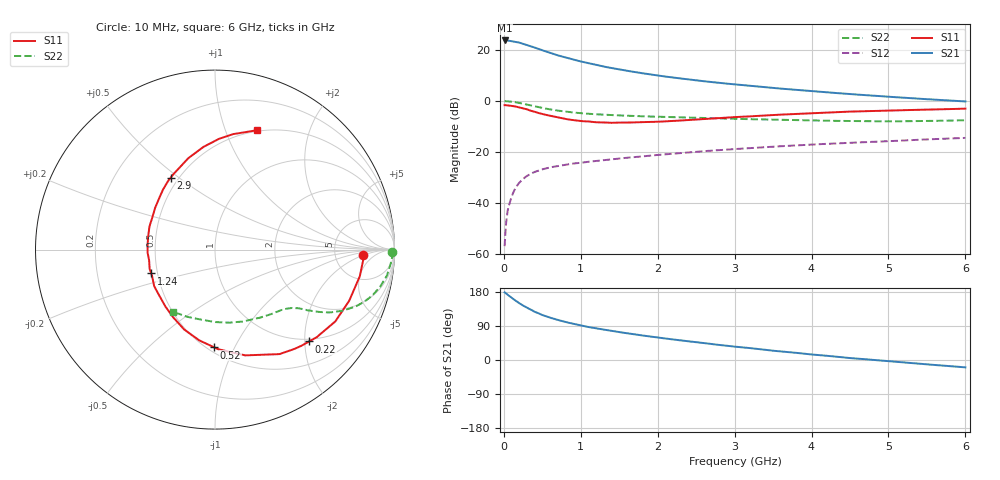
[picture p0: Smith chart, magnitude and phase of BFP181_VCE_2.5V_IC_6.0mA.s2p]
! Infineon Technologies  Discrete & RF Semiconductors
! BFP181
! VCE = 2.5 V,  IC =  6.0 mA
! Common Emitter S-Parameters:  Jan 2016
# GHz  S  MA  R  50
!  f  S11  S21  S12  S22
! GHz  MAG  ANG  MAG  ANG  MAG  ANG  MAG  ANG
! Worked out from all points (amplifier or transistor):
!   210 points, 10 MHz to 6 GHz, reference 50 ohm
!   highest |S21| = 23.8 dB at 10 MHz (marker M1)
!   |S21| within 3 dB of that: start of sweep to 420.9 MHz
!   unconditionally stable (mu >= 1): 1.504 GHz to end of sweep
!   at 185 MHz: K = 0.20, MSG = 27.9 dB, |S12| = -32.8 dB
!   at 1.52 GHz: K = 1.00, MAG = 17.0 dB, |S12| = -22.5 dB
!   at 6 GHz: K = 1.04, MAG = 6.0 dB, |S12| = -14.5 dB
!   S11 on the Smith chart (normalised r, x): 10 MHz: 10, -2; 220 MHz: 0.95, -2.10; 520 MHz: 0.54, -0.84; 1.24 GHz: 0.46, -0.14; 2.9 GHz: 0.45, +0.47; 6 GHz: 0.49, +1.29
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0.01  0.8248 -2.2  15.43 178.4  0.0014 82.9  0.9884 -0.7
0.04  0.8215 -8.4  15.38 173.8  0.0055 85.2  0.9848 -3.5
0.05  0.8202 -10.5  15.38 172.1  0.007 85.2  0.9825 -4.4
0.1  0.8002 -20.9  14.93 164.5  0.0129 76.0  0.9687 -8.6
0.15  0.7805 -30.9  14.47 156.9  0.0194 73.2  0.944 -12.5
0.2  0.7477 -40.8  14 149.9  0.0246 69.2  0.9142 -16.2
0.22  0.7328 -44.3  13.67 147.4  0.0264 67.5  0.9002 -17.4
0.3  0.6843 -58.3  12.56 138.2  0.0336 61.1  0.8483 -21.8
0.4  0.6127 -74.1  11.22 127.3  0.0402 55.8  0.7835 -25.9
0.52  0.545 -90.4  9.67 117.4  0.0461 50.8  0.7179 -29.2
0.6  0.513 -99.9  8.855 111.8  0.0495 48.9  0.6811 -30.7
0.7  0.4771 -111.1  7.871 105.7  0.0526 46.4  0.6455 -32.1
0.82  0.4378 -123.6  7.039 99.3  0.0563 45.0  0.613 -33.4
1.02  0.4003 -142.3  5.87 90.3  0.0615 43.4  0.5711 -35.0
1.24  0.3797 -159.5  4.94 82.3  0.0671 42.3  0.5425 -36.9
1.52  0.3756 -178.3  4.117 72.9  0.0746 41.6  0.5178 -39.4
2.02  0.3912 153.8  3.125 58.9  0.0873 40.4  0.4892 -45.1
2.9  0.4708 121.5  2.188 37.6  0.1106 36.6  0.45 -58.1
3.1  0.4887 115.9  2.047 33.4  0.1157 35.5  0.4415 -61.4
4.1  0.5831 94.6  1.518 12.9  0.1413 29.3  0.4113 -81.0
5.1  0.6549 80.1  1.183 -4.8  0.1644 23.1  0.3981 -103.4
6  0.7053 70.6  0.977 -19.5  0.1878 16.8  0.4177 -124.0
